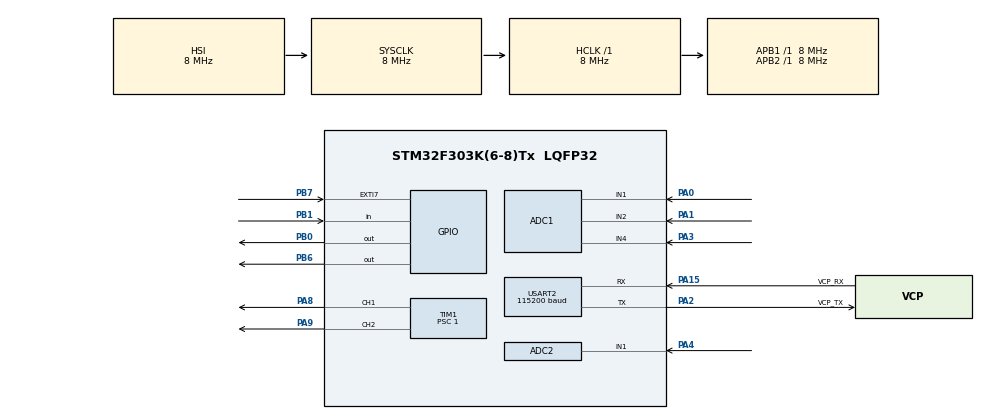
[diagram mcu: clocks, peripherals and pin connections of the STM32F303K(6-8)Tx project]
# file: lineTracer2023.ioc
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ADC1.Channel-0\#ChannelRegularConversion=ADC_CHANNEL_1
ADC1.Channel-1\#ChannelRegularConversion=ADC_CHANNEL_2
ADC1.Channel-2\#ChannelRegularConversion=ADC_CHANNEL_4
ADC1.DiscontinuousConvMode=ENABLE
ADC1.NbrOfConversion=3
ADC1.NbrOfConversionFlag=1
ADC1.Offset-0\#ChannelRegularConversion=0
ADC1.Offset-1\#ChannelRegularConversion=0
ADC1.Offset-2\#ChannelRegularConversion=0
ADC1.OffsetNumber-0\#ChannelRegularConversion=ADC_OFFSET_NONE
ADC1.OffsetNumber-1\#ChannelRegularConversion=ADC_OFFSET_NONE
ADC1.OffsetNumber-2\#ChannelRegularConversion=ADC_OFFSET_NONE
ADC1.Rank-0\#ChannelRegularConversion=1
ADC1.Rank-1\#ChannelRegularConversion=2
ADC1.Rank-2\#ChannelRegularConversion=3
ADC1.SamplingTime-0\#ChannelRegularConversion=ADC_SAMPLETIME_61CYCLES_5
ADC1.SamplingTime-1\#ChannelRegularConversion=ADC_SAMPLETIME_61CYCLES_5
ADC1.SamplingTime-2\#ChannelRegularConversion=ADC_SAMPLETIME_61CYCLES_5
ADC1.SamplingTimeOPAMP-1\#ChannelRegularConversion=ADC_SAMPLETIME_7CYCLES_5
ADC1.SamplingTimeOPAMP-2\#ChannelRegularConversion=ADC_SAMPLETIME_7CYCLES_5
ADC1.SubFamily=STM32F303x8
ADC1.master=1
ADC2.Channel-1\#ChannelRegularConversion=ADC_CHANNEL_1
ADC2.ContinuousConvMode=ENABLE
ADC2.DiscontinuousConvMode=DISABLE
ADC2.NbrOfConversion=1
ADC2.NbrOfConversionFlag=1
ADC2.Offset-1\#ChannelRegularConversion=0
ADC2.OffsetNumber-1\#ChannelRegularConversion=ADC_OFFSET_NONE
ADC2.Rank-1\#ChannelRegularConversion=1
ADC2.SamplingTime-1\#ChannelRegularConversion=ADC_SAMPLETIME_61CYCLES_5
ADC2.SequencerNbRanks=1
ADC2.SubFamily=STM32F303x8
Mcu.Family=STM32F3
Mcu.Name=STM32F303K(6-8)Tx
Mcu.Package=LQFP32
NVIC.PriorityGroup=NVIC_PRIORITYGROUP_4
PA0.Mode=IN1-Single-Ended
PA0.Signal=ADC1_IN1
PA1.Mode=IN2-Single-Ended
PA1.Signal=ADC1_IN2
PA13.GPIO_Label=SWDIO
PA13.Mode=Serial_Wire
PA13.Signal=SYS_JTMS-SWDIO
PA14.GPIO_Label=SWCLK
PA14.Mode=Serial_Wire
PA14.Signal=SYS_JTCK-SWCLK
PA15.GPIO_Label=VCP_RX
PA15.Mode=Asynchronous
PA15.Signal=USART2_RX
PA2.GPIO_Label=VCP_TX
PA2.Mode=Asynchronous
PA2.Signal=USART2_TX
PA3.Mode=IN4-Single-Ended
PA3.Signal=ADC1_IN4
PA4.Mode=IN1-Single-Ended
PA4.Signal=ADC2_IN1
PA8.Signal=S_TIM1_CH1
PA9.Signal=S_TIM1_CH2
PB0.Signal=GPIO_Output
PB1.Signal=GPIO_Input
PB6.Signal=GPIO_Output
PB7.Signal=GPXTI7
PF0\ /\ OSC_IN.GPIO_Label=MCO
PF0\ /\ OSC_IN.Mode=HSE-External-Clock-Source
PF0\ /\ OSC_IN.Signal=RCC_OSC_IN
ProjectManager.HeapSize=0x200
ProjectManager.StackSize=0x400
ProjectManager.TargetToolchain=STM32CubeIDE
RCC.AHBFreq_Value=8000000
RCC.APB1Freq_Value=8000000
RCC.APB2Freq_Value=8000000
RCC.CortexFreq_Value=8000000
RCC.HSE_VALUE=8000000
RCC.HSI_VALUE=8000000
RCC.PLLMUL=RCC_PLL_MUL4
RCC.SYSCLKFreq_VALUE=8000000
SH.S_TIM1_CH1.0=TIM1_CH1,PWM Generation1 CH1
SH.S_TIM1_CH2.0=TIM1_CH2,PWM Generation2 CH2
TIM1.Channel-PWM\ Generation1\ CH1=TIM_CHANNEL_1
TIM1.Channel-PWM\ Generation2\ CH2=TIM_CHANNEL_2
TIM1.Period=500
TIM1.Prescaler=1
TIM1.Pulse-PWM\ Generation1\ CH1=1000
USART2.BaudRate=115200
USART2.VirtualMode-Asynchronous=VM_ASYNC
VP_TIM1_VS_ClockSourceINT.Mode=Internal
board=NUCLEO-F303K8

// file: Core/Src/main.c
/* USER CODE BEGIN Header */
/**
 ******************************************************************************
 * @file           : main.c
 * @brief          : Main program body
 ******************************************************************************
 * @attention
 *
 * Copyright (c) 2023 STMicroelectronics.
 * All rights reserved.
 *
 * This software is licensed under terms that can be found in the LICENSE file
 * in the root directory of this software component.
 * If no LICENSE file comes with this software, it is provided AS-IS.
 *
 ******************************************************************************
 */
/* USER CODE END Header */
#include "main.h"

/* USER CODE BEGIN Includes */
#include <stdio.h>
/* USER CODE END Includes */

ADC_HandleTypeDef hadc1;
ADC_HandleTypeDef hadc2;

TIM_HandleTypeDef htim1;

UART_HandleTypeDef huart2;

void SystemClock_Config(void);
static void MX_GPIO_Init(void);
static void MX_USART2_UART_Init(void);
static void MX_ADC1_Init(void);
static void MX_ADC2_Init(void);
static void MX_TIM1_Init(void);
/* USER CODE BEGIN PFP */
//printf setting
#define PUTCHAR_PROTOTYPE int fputc(int ch, FILE *f)
void __io_putchar(uint8_t ch) {
	HAL_UART_Transmit(&huart2, &ch, 1, 500);
}
/* USER CODE END PFP */

int main(void)
{
  /* USER CODE BEGIN 1 */
	//初期化等
	volatile uint16_t adc_value = 0;
	float data[4];
  /* USER CODE END 1 */

  /* MCU Configuration--------------------------------------------------------*/

  /* Reset of all peripherals, Initializes the Flash interface and the Systick. */
  HAL_Init();

  /* Configure the system clock */
  SystemClock_Config();

  /* Initialize all configured peripherals */
  MX_GPIO_Init();
  MX_USART2_UART_Init();
  MX_ADC1_Init();
  MX_ADC2_Init();
  MX_TIM1_Init();
  /* USER CODE BEGIN 2 */
  	//HAL_TIM_PWM_Start(&htim1, TIM_CHANNEL_1);
	//HAL_TIM_PWM_Start(&htim1, TIM_CHANNEL_2);
  /* USER CODE END 2 */

  /* Infinite loop */
  /* USER CODE BEGIN WHILE */
	while (1) {

		__HAL_TIM_SET_COMPARE(&htim1, TIM_CHANNEL_1, 60);
		__HAL_TIM_SET_COMPARE(&htim1, TIM_CHANNEL_2, 60);

		for(int i=0; i<3; i++){
		        HAL_ADC_Start(&hadc1);
		        HAL_ADC_PollForConversion(&hadc1, 1);
		        adc_value = HAL_ADC_GetValue(&hadc1);//0から4096までの値が返ってくる
		        //下の変換は必要であれば
		        data[i] = (float)adc_value * 3.3 / 4096;//実際の電圧(PT1~3がdata[0]~data[2]に対応するはず)
		    }
		    HAL_ADC_PollForConversion(&hadc2, 1);
		    adc_value = HAL_ADC_GetValue(&hadc2);//0から4096までの値が返ってくる
		    data[3]=(float)adc_value * 3.3 / 4096;//実際の電圧(PT4)
		    for(int i=0;i<3;i++){
		    printf("data %d = %f\n\r",i,data[i]);
		    HAL_Delay(1000);

		    }

		    //HAL_GPIO_WritePin(GPIOB, GPIO_PIN_0, GPIO_PIN_SET);
		    //HAL_GPIO_WritePin(GPIOB, GPIO_PIN_1, GPIO_PIN_SET);
		    //HAL_GPIO_WritePin(GPIOB, GPIO_PIN_6, GPIO_PIN_SET);
		    //HAL_GPIO_WritePin(GPIOB, GPIO_PIN_7, GPIO_PIN_SET);

    /* USER CODE END WHILE */

	}
}

void SystemClock_Config(void)
{
  RCC_OscInitTypeDef RCC_OscInitStruct = {0};
  RCC_ClkInitTypeDef RCC_ClkInitStruct = {0};
  RCC_PeriphCLKInitTypeDef PeriphClkInit = {0};

  /** Initializes the RCC Oscillators according to the specified parameters
  * in the RCC_OscInitTypeDef structure.
  */
  RCC_OscInitStruct.OscillatorType = RCC_OSCILLATORTYPE_HSI;
  RCC_OscInitStruct.HSIState = RCC_HSI_ON;
  RCC_OscInitStruct.HSICalibrationValue = RCC_HSICALIBRATION_DEFAULT;
  RCC_OscInitStruct.PLL.PLLState = RCC_PLL_ON;
  RCC_OscInitStruct.PLL.PLLSource = RCC_PLLSOURCE_HSI;
  RCC_OscInitStruct.PLL.PLLMUL = RCC_PLL_MUL4;
  if (HAL_RCC_OscConfig(&RCC_OscInitStruct) != HAL_OK)
  {
    Error_Handler();
  }

  /** Initializes the CPU, AHB and APB buses clocks
  */
  RCC_ClkInitStruct.ClockType = RCC_CLOCKTYPE_HCLK|RCC_CLOCKTYPE_SYSCLK
                              |RCC_CLOCKTYPE_PCLK1|RCC_CLOCKTYPE_PCLK2;
  RCC_ClkInitStruct.SYSCLKSource = RCC_SYSCLKSOURCE_HSI;
  RCC_ClkInitStruct.AHBCLKDivider = RCC_SYSCLK_DIV1;
  RCC_ClkInitStruct.APB1CLKDivider = RCC_HCLK_DIV1;
  RCC_ClkInitStruct.APB2CLKDivider = RCC_HCLK_DIV1;

  if (HAL_RCC_ClockConfig(&RCC_ClkInitStruct, FLASH_LATENCY_0) != HAL_OK)
  {
    Error_Handler();
  }
  PeriphClkInit.PeriphClockSelection = RCC_PERIPHCLK_TIM1|RCC_PERIPHCLK_ADC12;
  PeriphClkInit.Adc12ClockSelection = RCC_ADC12PLLCLK_DIV1;
  PeriphClkInit.Tim1ClockSelection = RCC_TIM1CLK_HCLK;
  if (HAL_RCCEx_PeriphCLKConfig(&PeriphClkInit) != HAL_OK)
  {
    Error_Handler();
  }
}

static void MX_ADC1_Init(void)
{

  ADC_MultiModeTypeDef multimode = {0};
  ADC_ChannelConfTypeDef sConfig = {0};

  /** Common config
  */
  hadc1.Instance = ADC1;
  hadc1.Init.ClockPrescaler = ADC_CLOCK_ASYNC_DIV1;
  hadc1.Init.Resolution = ADC_RESOLUTION_12B;
  hadc1.Init.ScanConvMode = ADC_SCAN_ENABLE;
  hadc1.Init.ContinuousConvMode = DISABLE;
  hadc1.Init.DiscontinuousConvMode = ENABLE;
  hadc1.Init.NbrOfDiscConversion = 1;
  hadc1.Init.ExternalTrigConvEdge = ADC_EXTERNALTRIGCONVEDGE_NONE;
  hadc1.Init.ExternalTrigConv = ADC_SOFTWARE_START;
  hadc1.Init.DataAlign = ADC_DATAALIGN_RIGHT;
  hadc1.Init.NbrOfConversion = 3;
  hadc1.Init.DMAContinuousRequests = DISABLE;
  hadc1.Init.EOCSelection = ADC_EOC_SINGLE_CONV;
  hadc1.Init.LowPowerAutoWait = DISABLE;
  hadc1.Init.Overrun = ADC_OVR_DATA_OVERWRITTEN;
  if (HAL_ADC_Init(&hadc1) != HAL_OK)
  {
    Error_Handler();
  }

  /** Configure the ADC multi-mode
  */
  multimode.Mode = ADC_MODE_INDEPENDENT;
  if (HAL_ADCEx_MultiModeConfigChannel(&hadc1, &multimode) != HAL_OK)
  {
    Error_Handler();
  }

  /** Configure Regular Channel
  */
  sConfig.Channel = ADC_CHANNEL_1;
  sConfig.Rank = ADC_REGULAR_RANK_1;
  sConfig.SingleDiff = ADC_SINGLE_ENDED;
  sConfig.SamplingTime = ADC_SAMPLETIME_61CYCLES_5;
  sConfig.OffsetNumber = ADC_OFFSET_NONE;
  sConfig.Offset = 0;
  if (HAL_ADC_ConfigChannel(&hadc1, &sConfig) != HAL_OK)
  {
    Error_Handler();
  }

  /** Configure Regular Channel
  */
  sConfig.Channel = ADC_CHANNEL_2;
  sConfig.Rank = ADC_REGULAR_RANK_2;
  if (HAL_ADC_ConfigChannel(&hadc1, &sConfig) != HAL_OK)
  {
    Error_Handler();
  }

  /** Configure Regular Channel
  */
  sConfig.Channel = ADC_CHANNEL_4;
  sConfig.Rank = ADC_REGULAR_RANK_3;
  if (HAL_ADC_ConfigChannel(&hadc1, &sConfig) != HAL_OK)
  {
    Error_Handler();
  }

}

static void MX_ADC2_Init(void)
{

  ADC_ChannelConfTypeDef sConfig = {0};

  /** Common config
  */
  hadc2.Instance = ADC2;
  hadc2.Init.ClockPrescaler = ADC_CLOCK_ASYNC_DIV1;
  hadc2.Init.Resolution = ADC_RESOLUTION_12B;
  hadc2.Init.ScanConvMode = ADC_SCAN_DISABLE;
  hadc2.Init.ContinuousConvMode = ENABLE;
  hadc2.Init.DiscontinuousConvMode = DISABLE;
  hadc2.Init.ExternalTrigConvEdge = ADC_EXTERNALTRIGCONVEDGE_NONE;
  hadc2.Init.ExternalTrigConv = ADC_SOFTWARE_START;
  hadc2.Init.DataAlign = ADC_DATAALIGN_RIGHT;
  hadc2.Init.NbrOfConversion = 1;
  hadc2.Init.DMAContinuousRequests = DISABLE;
  hadc2.Init.EOCSelection = ADC_EOC_SINGLE_CONV;
  hadc2.Init.LowPowerAutoWait = DISABLE;
  hadc2.Init.Overrun = ADC_OVR_DATA_OVERWRITTEN;
  if (HAL_ADC_Init(&hadc2) != HAL_OK)
  {
    Error_Handler();
  }

  /** Configure Regular Channel
  */
  sConfig.Channel = ADC_CHANNEL_1;
  sConfig.Rank = ADC_REGULAR_RANK_1;
  sConfig.SingleDiff = ADC_SINGLE_ENDED;
  sConfig.SamplingTime = ADC_SAMPLETIME_61CYCLES_5;
  sConfig.OffsetNumber = ADC_OFFSET_NONE;
  sConfig.Offset = 0;
  if (HAL_ADC_ConfigChannel(&hadc2, &sConfig) != HAL_OK)
  {
    Error_Handler();
  }

}

static void MX_TIM1_Init(void)
{

  TIM_ClockConfigTypeDef sClockSourceConfig = {0};
  TIM_MasterConfigTypeDef sMasterConfig = {0};
  TIM_OC_InitTypeDef sConfigOC = {0};
  TIM_BreakDeadTimeConfigTypeDef sBreakDeadTimeConfig = {0};

  htim1.Instance = TIM1;
  htim1.Init.Prescaler = 1;
  htim1.Init.CounterMode = TIM_COUNTERMODE_UP;
  htim1.Init.Period = 500;
  htim1.Init.ClockDivision = TIM_CLOCKDIVISION_DIV1;
  htim1.Init.RepetitionCounter = 0;
  htim1.Init.AutoReloadPreload = TIM_AUTORELOAD_PRELOAD_DISABLE;
  if (HAL_TIM_Base_Init(&htim1) != HAL_OK)
  {
    Error_Handler();
  }
  sClockSourceConfig.ClockSource = TIM_CLOCKSOURCE_INTERNAL;
  if (HAL_TIM_ConfigClockSource(&htim1, &sClockSourceConfig) != HAL_OK)
  {
    Error_Handler();
  }
  if (HAL_TIM_PWM_Init(&htim1) != HAL_OK)
  {
    Error_Handler();
  }
  sMasterConfig.MasterOutputTrigger = TIM_TRGO_RESET;
  sMasterConfig.MasterOutputTrigger2 = TIM_TRGO2_RESET;
  sMasterConfig.MasterSlaveMode = TIM_MASTERSLAVEMODE_DISABLE;
  if (HAL_TIMEx_MasterConfigSynchronization(&htim1, &sMasterConfig) != HAL_OK)
  {
    Error_Handler();
  }
  sConfigOC.OCMode = TIM_OCMODE_PWM1;
  sConfigOC.Pulse = 1000;
  sConfigOC.OCPolarity = TIM_OCPOLARITY_HIGH;
  sConfigOC.OCNPolarity = TIM_OCNPOLARITY_HIGH;
  sConfigOC.OCFastMode = TIM_OCFAST_DISABLE;
  sConfigOC.OCIdleState = TIM_OCIDLESTATE_RESET;
  sConfigOC.OCNIdleState = TIM_OCNIDLESTATE_RESET;
  if (HAL_TIM_PWM_ConfigChannel(&htim1, &sConfigOC, TIM_CHANNEL_1) != HAL_OK)
  {
    Error_Handler();
  }
  sConfigOC.Pulse = 0;
  if (HAL_TIM_PWM_ConfigChannel(&htim1, &sConfigOC, TIM_CHANNEL_2) != HAL_OK)
  {
    Error_Handler();
  }
  sBreakDeadTimeConfig.OffStateRunMode = TIM_OSSR_DISABLE;
  sBreakDeadTimeConfig.OffStateIDLEMode = TIM_OSSI_DISABLE;
  sBreakDeadTimeConfig.LockLevel = TIM_LOCKLEVEL_OFF;
  sBreakDeadTimeConfig.DeadTime = 0;
  sBreakDeadTimeConfig.BreakState = TIM_BREAK_DISABLE;
  sBreakDeadTimeConfig.BreakPolarity = TIM_BREAKPOLARITY_HIGH;
  sBreakDeadTimeConfig.BreakFilter = 0;
  sBreakDeadTimeConfig.Break2State = TIM_BREAK2_DISABLE;
  sBreakDeadTimeConfig.Break2Polarity = TIM_BREAK2POLARITY_HIGH;
  sBreakDeadTimeConfig.Break2Filter = 0;
  sBreakDeadTimeConfig.AutomaticOutput = TIM_AUTOMATICOUTPUT_DISABLE;
  if (HAL_TIMEx_ConfigBreakDeadTime(&htim1, &sBreakDeadTimeConfig) != HAL_OK)
  {
    Error_Handler();
  }
  HAL_TIM_MspPostInit(&htim1);

}

static void MX_USART2_UART_Init(void)
{

  huart2.Instance = USART2;
  huart2.Init.BaudRate = 115200;
  huart2.Init.WordLength = UART_WORDLENGTH_8B;
  huart2.Init.StopBits = UART_STOPBITS_1;
  huart2.Init.Parity = UART_PARITY_NONE;
  huart2.Init.Mode = UART_MODE_TX_RX;
  huart2.Init.HwFlowCtl = UART_HWCONTROL_NONE;
  huart2.Init.OverSampling = UART_OVERSAMPLING_16;
  huart2.Init.OneBitSampling = UART_ONE_BIT_SAMPLE_DISABLE;
  huart2.AdvancedInit.AdvFeatureInit = UART_ADVFEATURE_NO_INIT;
  if (HAL_UART_Init(&huart2) != HAL_OK)
  {
    Error_Handler();
  }

}

static void MX_GPIO_Init(void)
{
  GPIO_InitTypeDef GPIO_InitStruct = {0};

  /* GPIO Ports Clock Enable */
  __HAL_RCC_GPIOF_CLK_ENABLE();
  __HAL_RCC_GPIOA_CLK_ENABLE();
  __HAL_RCC_GPIOB_CLK_ENABLE();

  /*Configure GPIO pin Output Level */
  HAL_GPIO_WritePin(GPIOB, GPIO_PIN_0|GPIO_PIN_6, GPIO_PIN_RESET);

  /*Configure GPIO pins : PB0 PB6 */
  GPIO_InitStruct.Pin = GPIO_PIN_0|GPIO_PIN_6;
  GPIO_InitStruct.Mode = GPIO_MODE_OUTPUT_PP;
  GPIO_InitStruct.Pull = GPIO_NOPULL;
  GPIO_InitStruct.Speed = GPIO_SPEED_FREQ_LOW;
  HAL_GPIO_Init(GPIOB, &GPIO_InitStruct);

  /*Configure GPIO pin : PB1 */
  GPIO_InitStruct.Pin = GPIO_PIN_1;
  GPIO_InitStruct.Mode = GPIO_MODE_INPUT;
  GPIO_InitStruct.Pull = GPIO_NOPULL;
  HAL_GPIO_Init(GPIOB, &GPIO_InitStruct);

  /*Configure GPIO pin : PB7 */
  GPIO_InitStruct.Pin = GPIO_PIN_7;
  GPIO_InitStruct.Mode = GPIO_MODE_IT_RISING;
  GPIO_InitStruct.Pull = GPIO_NOPULL;
  HAL_GPIO_Init(GPIOB, &GPIO_InitStruct);

}

void Error_Handler(void)
{
	__disable_irq();
	while (1) {
	}
}
